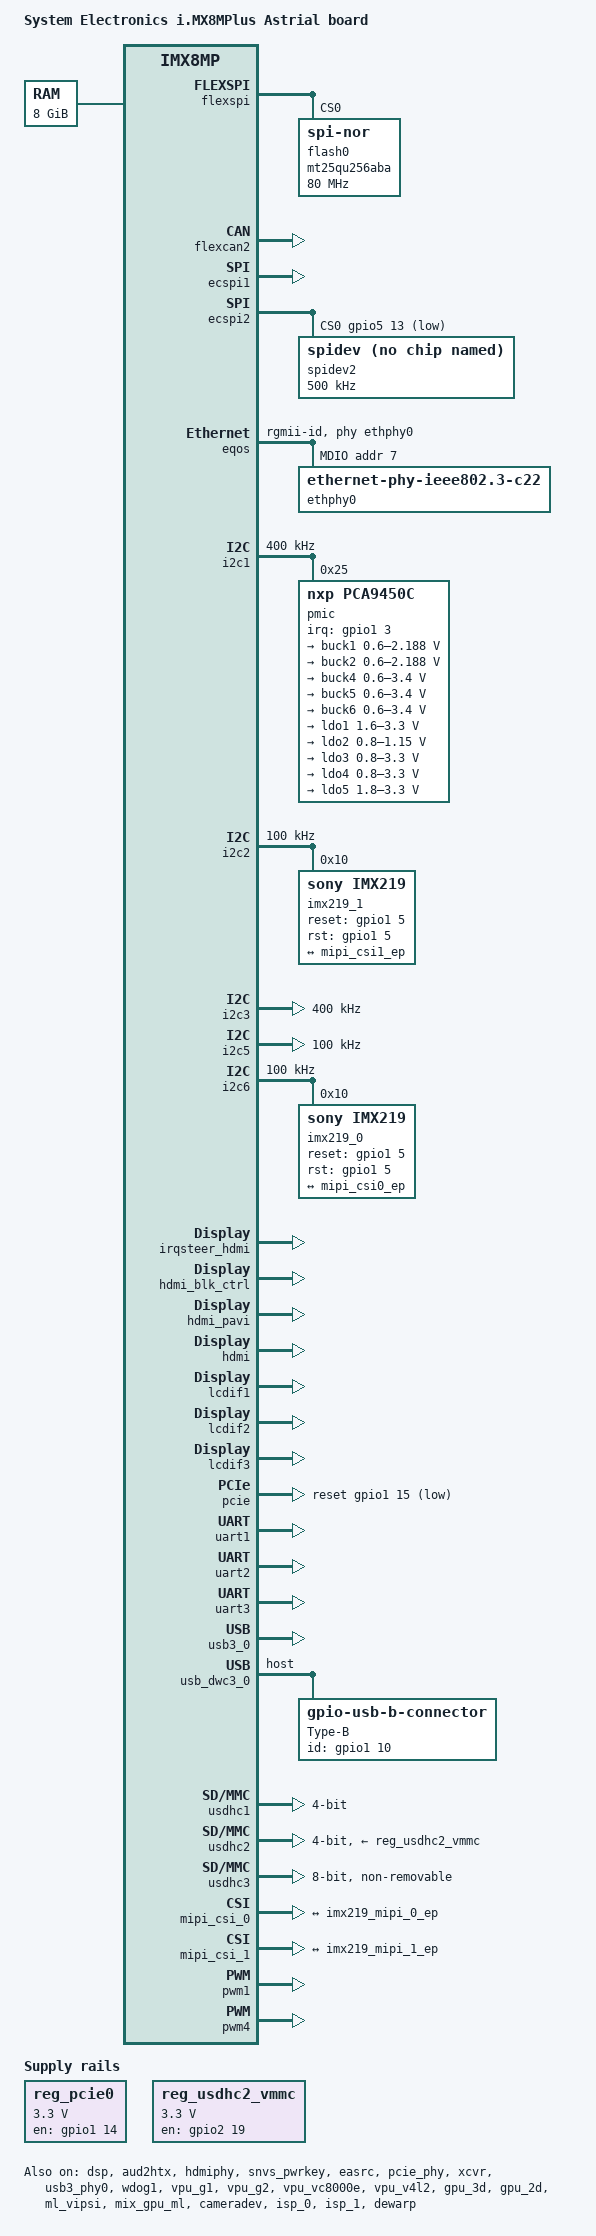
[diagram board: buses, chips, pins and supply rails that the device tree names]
// SPDX-License-Identifier: (GPL-2.0+ OR MIT)
/*
 * Copyright 2019 NXP
 * Copyright 2024 Koan Software
 */

 /dts-v1/;

 #include <dt-bindings/usb/pd.h>
 #include "../freescale/imx8mp.dtsi"
 
 / {
     model = "System Electronics i.MX8MPlus Astrial board";
     compatible = "fsl,imx8mp-astrial", "fsl,imx8mp";
 
     chosen {
         stdout-path = &uart1;
     };
 
     memory@40000000 {
         device_type = "memory";
         //reg = <0x0 0x40000000 0 0xc0000000>,
         //      <0x1 0x00000000 0 0xc0000000>;
         reg = <0x0 0x40000000 1 0x00000000>,
               <0x1 0x40000000 1 0x00000000>;
     };
 
     reg_pcie0: regulator-pcie {
         compatible = "regulator-fixed";
         pinctrl-names = "default";
         pinctrl-0 = <&pinctrl_pcie0_reg>;
         regulator-name = "MPCIE_V";
         regulator-min-microvolt = <3300000>;
         regulator-max-microvolt = <3300000>;
         gpio = <&gpio1 14 GPIO_ACTIVE_HIGH>;
         enable-active-high;
         regulator-always-on;
     };
 
     reg_usdhc2_vmmc: regulator-usdhc2 {
         compatible = "regulator-fixed";
         pinctrl-names = "default";
         pinctrl-0 = <&pinctrl_reg_usdhc2_vmmc>;
         regulator-name = "VSD_3V3";
         regulator-min-microvolt = <3300000>;
         regulator-max-microvolt = <3300000>;
         gpio = <&gpio2 19 GPIO_ACTIVE_HIGH>;
         enable-active-high;
     };
 
     sound-hdmi {
         compatible = "fsl,imx-audio-hdmi";
         model = "audio-hdmi";
         audio-cpu = <&aud2htx>;
         hdmi-out;
         constraint-rate = <44100>,
                 <88200>,
                 <176400>,
                 <32000>,
                 <48000>,
                 <96000>,
                 <192000>;
         status = "okay";
     };
 };
 
 &flexspi {
     pinctrl-names = "default";
     pinctrl-0 = <&pinctrl_flexspi0>;
     status = "okay";
 
     flash0: mt25qu256aba@0 {
         reg = <0>;
         #address-cells = <1>;
         #size-cells = <1>;
         compatible = "jedec,spi-nor";
         spi-max-frequency = <80000000>;
         spi-tx-bus-width = <1>;
         spi-rx-bus-width = <4>;
     };
 };
 
 &flexcan2 {
     pinctrl-names = "default";
     pinctrl-0 = <&pinctrl_flexcan2>;
     status = "okay";
 };
 
 &A53_0 {
     cpu-supply = <&buck2>;
 };
 
 &A53_1 {
     cpu-supply = <&buck2>;
 };
 
 &A53_2 {
     cpu-supply = <&buck2>;
 };
 
 &A53_3 {
     cpu-supply = <&buck2>;
 };
 
 &dsp {
     status = "okay";
 };
 
 &aud2htx {
     status = "okay";
 };
 
 &ecspi1 {
     #address-cells = <1>;
     #size-cells = <0>;
     fsl,spi-num-chipselects = <1>;
     pinctrl-names = "default";
     pinctrl-0 = <&pinctrl_ecspi1 &pinctrl_ecspi1_cs>;
     cs-gpios = <&gpio5 9 GPIO_ACTIVE_LOW>;
     status = "okay";

 };
 
 &ecspi2 {
     #address-cells = <1>;
     #size-cells = <0>;
     fsl,spi-num-chipselects = <1>;
     pinctrl-names = "default";
     pinctrl-0 = <&pinctrl_ecspi2 &pinctrl_ecspi2_cs>;
     cs-gpios = <&gpio5 13 GPIO_ACTIVE_LOW>;
     status = "okay";
 
     spidev2: spi2@0 {
         reg = <0>;
         compatible = "rohm,dh2228fv";
         spi-max-frequency = <500000>;
     };
 };
 
 &eqos {
     pinctrl-names = "default";
     pinctrl-0 = <&pinctrl_eqos>;
     phy-mode = "rgmii-id";
     phy-handle = <&ethphy0>;
     snps,force_thresh_dma_mode;
     snps,mtl-tx-config = <&mtl_tx_setup>;
     snps,mtl-rx-config = <&mtl_rx_setup>;
     status = "okay";
 
     mdio {
         compatible = "snps,dwmac-mdio";
         #address-cells = <1>;
         #size-cells = <0>;
 
         ethphy0: ethernet-phy@7 {
             compatible = "ethernet-phy-ieee802.3-c22";
             reg = <7>;
         };
     };
 
     mtl_tx_setup: tx-queues-config {
         snps,tx-queues-to-use = <5>;
         snps,tx-sched-sp;
         queue0 {
             snps,dcb-algorithm;
             snps,priority = <0x1>;
         };
         queue1 {
             snps,dcb-algorithm;
             snps,priority = <0x2>;
         };
         queue2 {
             snps,dcb-algorithm;
             snps,priority = <0x4>;
         };
         queue3 {
             snps,dcb-algorithm;
             snps,priority = <0x8>;
         };
         queue4 {
             snps,dcb-algorithm;
             snps,priority = <0xf0>;
         };
     };
     mtl_rx_setup: rx-queues-config {
         snps,rx-queues-to-use = <5>;
         snps,rx-sched-sp;
         queue0 {
             snps,dcb-algorithm;
             snps,priority = <0x1>;
             snps,map-to-dma-channel = <0>;
         };
         queue1 {
             snps,dcb-algorithm;
             snps,priority = <0x2>;
             snps,map-to-dma-channel = <1>;
         };
         queue2 {
             snps,dcb-algorithm;
             snps,priority = <0x4>;
             snps,map-to-dma-channel = <2>;
         };
         queue3 {
             snps,dcb-algorithm;
             snps,priority = <0x8>;
             snps,map-to-dma-channel = <3>;
         };
         queue4 {
             snps,dcb-algorithm;
             snps,priority = <0xf0>;
             snps,map-to-dma-channel = <4>;
         };
     };
 };
 
 &i2c1 {
     clock-frequency = <400000>;
     pinctrl-names = "default";
     pinctrl-0 = <&pinctrl_i2c1>;
     status = "okay";
 
     pmic@25 {
         compatible = "nxp,pca9450c";
         reg = <0x25>;
         pinctrl-names = "default";
         pinctrl-0 = <&pinctrl_pmic>;
         interrupt-parent = <&gpio1>;
         interrupts = <3 IRQ_TYPE_LEVEL_LOW>;
         /* needed for i2c2 to work */
         nxp,i2c-lt-enable;
 
         regulators {
             buck1: BUCK1 {
                 regulator-name = "BUCK1";
                 regulator-min-microvolt = <600000>;
                 regulator-max-microvolt = <2187500>;
                 regulator-boot-on;
                 regulator-always-on;
                 regulator-ramp-delay = <3125>;
             };
 
             buck2: BUCK2 {
                 regulator-name = "BUCK2";
                 regulator-min-microvolt = <600000>;
                 regulator-max-microvolt = <2187500>;
                 regulator-boot-on;
                 regulator-always-on;
                 regulator-ramp-delay = <3125>;
                 nxp,dvs-run-voltage = <950000>;
                 nxp,dvs-standby-voltage = <850000>;
             };
 
             buck4: BUCK4{
                 regulator-name = "BUCK4";
                 regulator-min-microvolt = <600000>;
                 regulator-max-microvolt = <3400000>;
                 regulator-boot-on;
                 regulator-always-on;
             };
 
             buck5: BUCK5{
                 regulator-name = "BUCK5";
                 regulator-min-microvolt = <600000>;
                 regulator-max-microvolt = <3400000>;
                 regulator-boot-on;
                 regulator-always-on;
             };
 
             buck6: BUCK6 {
                 regulator-name = "BUCK6";
                 regulator-min-microvolt = <600000>;
                 regulator-max-microvolt = <3400000>;
                 regulator-boot-on;
                 regulator-always-on;
             };
 
             ldo1: LDO1 {
                 regulator-name = "LDO1";
                 regulator-min-microvolt = <1600000>;
                 regulator-max-microvolt = <3300000>;
                 regulator-boot-on;
                 regulator-always-on;
             };
 
             ldo2: LDO2 {
                 regulator-name = "LDO2";
                 regulator-min-microvolt = <800000>;
                 regulator-max-microvolt = <1150000>;
                 regulator-boot-on;
                 regulator-always-on;
             };
 
             ldo3: LDO3 {
                 regulator-name = "LDO3";
                 regulator-min-microvolt = <800000>;
                 regulator-max-microvolt = <3300000>;
                 regulator-boot-on;
                 regulator-always-on;
             };
 
             ldo4: LDO4 {
                 regulator-name = "LDO4";
                 regulator-min-microvolt = <800000>;
                 regulator-max-microvolt = <3300000>;
                 regulator-boot-on;
                 regulator-always-on;
             };
 
             ldo5: LDO5 {
                 regulator-name = "LDO5";
                 regulator-min-microvolt = <1800000>;
                 regulator-max-microvolt = <3300000>;
                 regulator-boot-on;
                 regulator-always-on;
             };
         };
     };
 };
 
 &i2c2 {
     clock-frequency = <100000>;
     pinctrl-names = "default";
     pinctrl-0 = <&pinctrl_i2c2>;
     status = "okay";
 
     imx219_1: imx219_mipi@10 {
         compatible = "sony,imx219";
         reg = <0x10>;
         pinctrl-0 = <&pinctrl_csi0_rst>, <&pinctrl_csi_mclk>;
         clocks = <&clk IMX8MP_CLK_IPP_DO_CLKO2>;
         clock-names = "xclk";
         assigned-clocks = <&clk IMX8MP_CLK_IPP_DO_CLKO2>;
         assigned-clock-parents = <&clk IMX8MP_CLK_24M>;
         assigned-clock-rates = <24000000>;
         csi_id = <1>;
         /* Camera_GPIO points to GPIO1_5... for both cameras? */
         /* reset-gpios => for standard imx219 driver */
         /* rst-gpios => for nxp imx219 driver */
         reset-gpios = <&gpio1 5 GPIO_ACTIVE_HIGH>;
         rst-gpios = <&gpio1 5 GPIO_ACTIVE_HIGH>;
         mclk = <24000000>;
         mclk_source = <0>;
         mipi_csi;
 
         status = "okay";
 
         port {
             imx219_mipi_1_ep: endpoint {
                 remote-endpoint = <&mipi_csi1_ep>;
                 /* we could do 4 but Raspberry Cam v2 only handles 2 */
                 data-lanes = <1 2>;
                 clock-lanes = <0>;
                 clock-noncontinuous;
                 link-frequencies = /bits/ 64 <456000000>;
             };
         };
     };
 };
 
 &i2c3 {
     clock-frequency = <400000>;
     pinctrl-names = "default";
     pinctrl-0 = <&pinctrl_i2c3>;
     status = "okay";
 };
 
 &i2c5 {
     clock-frequency = <100000>;
     pinctrl-names = "default";
     pinctrl-0 = <&pinctrl_i2c5>;
     status = "okay";
 };
 
 &i2c6 {
     clock-frequency = <100000>;
     pinctrl-names = "default";
     pinctrl-0 = <&pinctrl_i2c6>;
     status = "okay";
 
     imx219_0: imx219_mipi@10 {
         compatible = "sony,imx219";
         reg = <0x10>;
         pinctrl-0 = <&pinctrl_csi0_rst>, <&pinctrl_csi_mclk>;
         clocks = <&clk IMX8MP_CLK_IPP_DO_CLKO2>;
         clock-names = "xclk";
         assigned-clocks = <&clk IMX8MP_CLK_IPP_DO_CLKO2>;
         assigned-clock-parents = <&clk IMX8MP_CLK_24M>;
         assigned-clock-rates = <24000000>;
         csi_id = <0>;
         /* Camera_GPIO points to GPIO1_5... for both cameras? */
         /* reset-gpios => for standard imx219 driver */
         /* rst-gpios => for nxp imx219 driver */
         reset-gpios = <&gpio1 5 GPIO_ACTIVE_HIGH>;
         rst-gpios = <&gpio1 5 GPIO_ACTIVE_HIGH>;
         mclk = <24000000>;
         mclk_source = <0>;
         mipi_csi;
 
         status = "okay";
 
         port {
             imx219_mipi_0_ep: endpoint {
                 remote-endpoint = <&mipi_csi0_ep>;
                 data-lanes = <1 2>;
                 clock-lanes = <0>;
                 clock-noncontinuous;
                 link-frequencies = /bits/ 64 <456000000>;
             };
         };
     };
 };
 
 &irqsteer_hdmi {
     status = "okay";
 };
 
 &hdmi_blk_ctrl {
     status = "okay";
 };
 
 &hdmi_pavi {
     status = "okay";
 };
 
 &hdmi {
     status = "okay";
 };
 
 &hdmiphy {
     status = "okay";
 };
 
 &lcdif1 {
     status = "okay";
 };
 
 &lcdif2 {
     status = "okay";
 };
 
 &lcdif3 {
     status = "okay";
 
     thres-low  = <1 2>;             /* (FIFO * 1 / 2) */
     thres-high = <3 4>;             /* (FIFO * 3 / 4) */
 };
 
 &snvs_pwrkey {
     status = "okay";
 };
 
 &easrc {
     fsl,asrc-rate  = <48000>;
     status = "okay";
 };
 
 &pcie{
     pinctrl-names = "default";
     pinctrl-0 = <&pinctrl_pcie>;
     reset-gpio = <&gpio1 15 GPIO_ACTIVE_LOW>;
     ext_osc = <0>;
     clocks = <&clk IMX8MP_CLK_HSIO_ROOT>,
          <&clk IMX8MP_CLK_PCIE_AUX>,
          <&clk IMX8MP_CLK_HSIO_AXI>,
          <&clk IMX8MP_CLK_PCIE_ROOT>;
     clock-names = "pcie", "pcie_aux", "pcie_phy", "pcie_bus";
     assigned-clocks = <&clk IMX8MP_CLK_HSIO_AXI>,
               <&clk IMX8MP_CLK_PCIE_AUX>;
     assigned-clock-rates = <500000000>, <10000000>;
     assigned-clock-parents = <&clk IMX8MP_SYS_PLL2_500M>,
                  <&clk IMX8MP_SYS_PLL2_50M>;
     l1ss-disabled;
     vpcie-supply = <&reg_pcie0>;
     status = "okay";
 };
 
 &pcie_ep{
     pinctrl-names = "default";
     pinctrl-0 = <&pinctrl_pcie>;
     ext_osc = <1>;
     clocks = <&clk IMX8MP_CLK_HSIO_ROOT>,
          <&clk IMX8MP_CLK_PCIE_AUX>,
          <&clk IMX8MP_CLK_HSIO_AXI>,
          <&clk IMX8MP_CLK_PCIE_ROOT>;
     clock-names = "pcie", "pcie_aux", "pcie_phy", "pcie_bus";
     assigned-clocks = <&clk IMX8MP_CLK_HSIO_AXI>,
               <&clk IMX8MP_CLK_PCIE_AUX>;
     assigned-clock-rates = <500000000>, <10000000>;
     assigned-clock-parents = <&clk IMX8MP_SYS_PLL2_500M>,
                  <&clk IMX8MP_SYS_PLL2_50M>;
     status = "disabled";
 };
 
 &pcie_phy{
     ext_osc = <0>;
     status = "okay";
 };
 
 &xcvr {
     #sound-dai-cells = <0>;
     status = "okay";
 };
 
 &sdma2 {
     status = "okay";
 };
 
 &uart1 {
     /* console */
     pinctrl-names = "default";
     pinctrl-0 = <&pinctrl_uart1>;
     assigned-clocks = <&clk IMX8MP_CLK_UART1>;
     assigned-clock-parents = <&clk IMX8MP_SYS_PLL1_80M>;
     /delete-property/ dmas;
     /delete-property/ dmas-names;
     status = "okay";
 };
 
 &uart2 {
     pinctrl-names = "default";
     pinctrl-0 = <&pinctrl_uart2>;
     status = "okay";
 };
 
 &uart3 {
     pinctrl-names = "default";
     pinctrl-0 = <&pinctrl_uart3>;
     status = "okay";
 };
 
 &usb3_phy0 {
     fsl,phy-tx-vref-tune = <0xe>;
     fsl,phy-tx-preemp-amp-tune = <3>;
     fsl,phy-tx-vboost-level = <5>;
     fsl,phy-comp-dis-tune = <7>;
     fsl,pcs-tx-deemph-3p5db = <0x21>;
     fsl,phy-pcs-tx-swing-full = <0x7f>;
     status = "okay";
 };
 
 &usb3_0 {
     status = "okay";
 };
 
 &usb_dwc3_0 {
     //dr_mode = "otg";
     dr_mode = "host";
     hnp-disable;
     srp-disable;
     adp-disable;
     usb-role-switch;
     role-switch-default-mode = "none";
     snps,dis-u1-entry-quirk;
     snps,dis-u2-entry-quirk;
     status = "okay";
 
     connector {
         pinctrl-names = "default";
         pinctrl-0 = <&pinctrl_usb0>;
         compatible = "gpio-usb-b-connector", "usb-b-connector";
         type = "micro";
         label = "Type-B";
         id-gpios = <&gpio1 10 GPIO_ACTIVE_HIGH>;
     };
 };
 
 &usb3_phy1 {
     fsl,phy-tx-preemp-amp-tune = <3>;
     fsl,phy-tx-vref-tune = <0xb>;
     status = "disabled";
 };
 
 &usb3_1 {
     status = "disabled";
 };
 
 &usb_dwc3_1 {
     dr_mode = "host";
     status = "disabled";
 };
 
 &usdhc1 {
     assigned-clocks = <&clk IMX8MP_CLK_USDHC1>;
     assigned-clock-rates = <25000000>;
     pinctrl-names = "default";
     pinctrl-0 = <&pinctrl_usdhc1>;
     bus-width = <4>;
     broken-cd;
     no-1-8-v;
     status = "okay";
 };
 
 &usdhc2 {
     assigned-clocks = <&clk IMX8MP_CLK_USDHC2>;
     assigned-clock-rates = <400000000>;
     pinctrl-names = "default", "state_100mhz", "state_200mhz";
     pinctrl-0 = <&pinctrl_usdhc2>;
     pinctrl-1 = <&pinctrl_usdhc2_100mhz>;
     pinctrl-2 = <&pinctrl_usdhc2_200mhz>;
     vmmc-supply = <&reg_usdhc2_vmmc>;
     bus-width = <4>;
     broken-cd;
     no-1-8-v;
     status = "okay";
 };
 
 &usdhc3 {
     assigned-clocks = <&clk IMX8MP_CLK_USDHC3>;
     assigned-clock-rates = <400000000>;
     pinctrl-names = "default", "state_100mhz", "state_200mhz";
     pinctrl-0 = <&pinctrl_usdhc3>;
     pinctrl-1 = <&pinctrl_usdhc3_100mhz>;
     pinctrl-2 = <&pinctrl_usdhc3_200mhz>;
     bus-width = <8>;
     non-removable;
     status = "okay";
 };
 
 &wdog1 {
     pinctrl-names = "default";
     pinctrl-0 = <&pinctrl_wdog>;
     fsl,ext-reset-output;
     status = "okay";
 };
 
 &iomuxc {
     pinctrl-names = "default";
     pinctrl-0 = <&pinctrl_hog>;
 
     pinctrl_hog: hoggrp {
         fsl,pins = <
             MX8MP_IOMUXC_HDMI_DDC_SCL__HDMIMIX_HDMI_SCL	0x400001c2
             MX8MP_IOMUXC_HDMI_DDC_SDA__HDMIMIX_HDMI_SDA	0x400001c2
             MX8MP_IOMUXC_HDMI_HPD__HDMIMIX_HDMI_HPD		0x40000010
             MX8MP_IOMUXC_HDMI_CEC__HDMIMIX_HDMI_CEC		0x40000010
         >;
     };
     
     pinctrl_ecspi1: ecspi1grp {
         fsl,pins = <
             MX8MP_IOMUXC_ECSPI1_SCLK__ECSPI1_SCLK    0x82
             MX8MP_IOMUXC_ECSPI1_MOSI__ECSPI1_MOSI    0x82
             MX8MP_IOMUXC_ECSPI1_MISO__ECSPI1_MISO    0x82
         >;
     };
 
     pinctrl_ecspi1_cs: ecspi1cs {
         fsl,pins = <
             MX8MP_IOMUXC_ECSPI1_SS0__GPIO5_IO09      0x40000
         >;
     };
 
     pinctrl_ecspi2: ecspi2grp {
         fsl,pins = <
             MX8MP_IOMUXC_ECSPI2_SCLK__ECSPI2_SCLK    0x82
             MX8MP_IOMUXC_ECSPI2_MOSI__ECSPI2_MOSI    0x82
             MX8MP_IOMUXC_ECSPI2_MISO__ECSPI2_MISO    0x82
         >;
     };
 
     pinctrl_ecspi2_cs: ecspi2cs {
         fsl,pins = <
             MX8MP_IOMUXC_ECSPI2_SS0__GPIO5_IO13      0x40000
         >;
     };
     
     pinctrl_eqos: eqosgrp {
         fsl,pins = <
             MX8MP_IOMUXC_ENET_MDC__ENET_QOS_MDC				0x142
             MX8MP_IOMUXC_ENET_MDIO__ENET_QOS_MDIO				0x142
             MX8MP_IOMUXC_ENET_RD0__ENET_QOS_RGMII_RD0			0x90
             MX8MP_IOMUXC_ENET_RD1__ENET_QOS_RGMII_RD1			0x90
             MX8MP_IOMUXC_ENET_RD2__ENET_QOS_RGMII_RD2			0x90
             MX8MP_IOMUXC_ENET_RD3__ENET_QOS_RGMII_RD3			0x90
             MX8MP_IOMUXC_ENET_RXC__CCM_ENET_QOS_CLOCK_GENERATE_RX_CLK	0x90
             MX8MP_IOMUXC_ENET_RX_CTL__ENET_QOS_RGMII_RX_CTL			0x90
             MX8MP_IOMUXC_ENET_TD0__ENET_QOS_RGMII_TD0			0x16
             MX8MP_IOMUXC_ENET_TD1__ENET_QOS_RGMII_TD1			0x16
             MX8MP_IOMUXC_ENET_TD2__ENET_QOS_RGMII_TD2			0x16
             MX8MP_IOMUXC_ENET_TD3__ENET_QOS_RGMII_TD3			0x16
             MX8MP_IOMUXC_ENET_TX_CTL__ENET_QOS_RGMII_TX_CTL			0x16
             MX8MP_IOMUXC_ENET_TXC__CCM_ENET_QOS_CLOCK_GENERATE_TX_CLK	0x16
         >;
     };
 
     pinctrl_flexcan2: flexcan2grp {
         fsl,pins = <
             MX8MP_IOMUXC_SAI2_MCLK__CAN2_RX         0x154
             MX8MP_IOMUXC_SAI2_TXD0__CAN2_TX         0x154
         >;
     };
 
     pinctrl_flexspi0: flexspi0grp {
         fsl,pins = <
             MX8MP_IOMUXC_NAND_ALE__FLEXSPI_A_SCLK           0x1c2
             MX8MP_IOMUXC_NAND_CE0_B__FLEXSPI_A_SS0_B        0x82
             MX8MP_IOMUXC_NAND_DATA00__FLEXSPI_A_DATA00      0x82
             MX8MP_IOMUXC_NAND_DATA01__FLEXSPI_A_DATA01      0x82
             MX8MP_IOMUXC_NAND_DATA02__FLEXSPI_A_DATA02      0x82
             MX8MP_IOMUXC_NAND_DATA03__FLEXSPI_A_DATA03      0x82
         >;
     };
 
     pinctrl_i2c1: i2c1grp {
         fsl,pins = <
             MX8MP_IOMUXC_I2C1_SCL__I2C1_SCL		0x400001c2
             MX8MP_IOMUXC_I2C1_SDA__I2C1_SDA		0x400001c2
         >;
     };
 
     pinctrl_i2c2: i2c2grp {
         fsl,pins = <
             MX8MP_IOMUXC_I2C2_SCL__I2C2_SCL		0x400001c2
             MX8MP_IOMUXC_I2C2_SDA__I2C2_SDA		0x400001c2
         >;
     };
 
     pinctrl_i2c3: i2c3grp {
         fsl,pins = <
             MX8MP_IOMUXC_I2C3_SCL__I2C3_SCL		0x400001c2
             MX8MP_IOMUXC_I2C3_SDA__I2C3_SDA		0x400001c2
         >;
     };
 
     pinctrl_i2c5: i2c5grp {
         fsl,pins = <
             MX8MP_IOMUXC_SAI5_RXD0__I2C5_SCL	0x400001c2
             MX8MP_IOMUXC_SAI5_MCLK__I2C5_SDA	0x400001c2
         >;
     };
 
     pinctrl_i2c6: i2c6grp {
         fsl,pins = <
             MX8MP_IOMUXC_SAI5_RXFS__I2C6_SCL	0x400001c2
             MX8MP_IOMUXC_SAI5_RXC__I2C6_SDA	0x400001c2
         >;
     };
 
     pinctrl_pcie: pciegrp {
         fsl,pins = <
             MX8MP_IOMUXC_I2C4_SCL__PCIE_CLKREQ_B	0x60   /* open drain, pull up */ /* PCIE_CLKREQ_N */
             MX8MP_IOMUXC_GPIO1_IO15__GPIO1_IO15	0x41   /* PCIE_RST_N */
             MX8MP_IOMUXC_I2C4_SDA__GPIO5_IO21	0x1c4  /* PCIE_WAKE_N */
         >;
     };
     
     pinctrl_pcie0_reg: pcie0reggrp {
         fsl,pins = <
             MX8MP_IOMUXC_GPIO1_IO14__GPIO1_IO14	0x40 
         >;
     };
 
     pinctrl_pmic: pmicgrp {
         fsl,pins = <
             MX8MP_IOMUXC_GPIO1_IO03__GPIO1_IO03	0x000001c0
         >;
     };
 
     pinctrl_reg_usdhc2_vmmc: regusdhc2vmmcgrp {
         fsl,pins = <
             MX8MP_IOMUXC_SD2_RESET_B__GPIO2_IO19	0x40
         >;
     };
 
     pinctrl_uart1: uart1grp {
         fsl,pins = <
             MX8MP_IOMUXC_SAI2_RXC__UART1_DCE_RX	0x140
             MX8MP_IOMUXC_SAI2_RXFS__UART1_DCE_TX	0x140
             MX8MP_IOMUXC_SAI2_TXFS__UART1_DCE_CTS	0x140
             MX8MP_IOMUXC_SAI2_RXD0__UART1_DCE_RTS	0x140
         >;
     };
 
     pinctrl_uart2: uart2grp {
         fsl,pins = <
             MX8MP_IOMUXC_UART2_RXD__UART2_DCE_RX	0x140
             MX8MP_IOMUXC_UART2_TXD__UART2_DCE_TX	0x140
         >;
     };
 
     pinctrl_uart3: uart3grp {
         fsl,pins = <
             MX8MP_IOMUXC_SD1_DATA7__UART3_DCE_RX	0x140
             MX8MP_IOMUXC_SD1_DATA6__UART3_DCE_TX	0x140
         >;
     };
 
     pinctrl_pwm1: pwm1grp {
         fsl,pins = <
             MX8MP_IOMUXC_SPDIF_EXT_CLK__PWM1_OUT	0x116
         >;
     };
 
     pinctrl_pwm4: pwm4grp {
         fsl,pins = <
             MX8MP_IOMUXC_SAI3_MCLK__PWM4_OUT		0x116
         >;
     };
 
     pinctrl_usb0: usb0-extcongrp {
         fsl,pins = <
             MX8MP_IOMUXC_GPIO1_IO10__GPIO1_IO10	0x19
         >;
     };
 
     pinctrl_usdhc1: usdhc1grp {
         fsl,pins = <
             MX8MP_IOMUXC_SD1_CLK__USDHC1_CLK	0x190
             MX8MP_IOMUXC_SD1_CMD__USDHC1_CMD	0x1d0
             MX8MP_IOMUXC_SD1_DATA0__USDHC1_DATA0	0x1d0
             MX8MP_IOMUXC_SD1_DATA1__USDHC1_DATA1	0x1d0
             MX8MP_IOMUXC_SD1_DATA2__USDHC1_DATA2	0x1d0
             MX8MP_IOMUXC_SD1_DATA3__USDHC1_DATA3	0x1d0
         >;
     };
 
     pinctrl_usdhc2: usdhc2grp {
         fsl,pins = <
             MX8MP_IOMUXC_SD2_CLK__USDHC2_CLK	0x190
             MX8MP_IOMUXC_SD2_CMD__USDHC2_CMD	0x1d0
             MX8MP_IOMUXC_SD2_DATA0__USDHC2_DATA0	0x1d0
             MX8MP_IOMUXC_SD2_DATA1__USDHC2_DATA1	0x1d0
             MX8MP_IOMUXC_SD2_DATA2__USDHC2_DATA2	0x1d0
             MX8MP_IOMUXC_SD2_DATA3__USDHC2_DATA3	0x1d0
             MX8MP_IOMUXC_GPIO1_IO04__USDHC2_VSELECT	0xc0
         >;
     };
 
     pinctrl_usdhc2_100mhz: usdhc2-100mhzgrp {
         fsl,pins = <
             MX8MP_IOMUXC_SD2_CLK__USDHC2_CLK	0x194
             MX8MP_IOMUXC_SD2_CMD__USDHC2_CMD	0x1d4
             MX8MP_IOMUXC_SD2_DATA0__USDHC2_DATA0	0x1d4
             MX8MP_IOMUXC_SD2_DATA1__USDHC2_DATA1	0x1d4
             MX8MP_IOMUXC_SD2_DATA2__USDHC2_DATA2	0x1d4
             MX8MP_IOMUXC_SD2_DATA3__USDHC2_DATA3	0x1d4
             MX8MP_IOMUXC_GPIO1_IO04__USDHC2_VSELECT 0xc0
         >;
     };
 
     pinctrl_usdhc2_200mhz: usdhc2-200mhzgrp {
         fsl,pins = <
             MX8MP_IOMUXC_SD2_CLK__USDHC2_CLK	0x196
             MX8MP_IOMUXC_SD2_CMD__USDHC2_CMD	0x1d6
             MX8MP_IOMUXC_SD2_DATA0__USDHC2_DATA0	0x1d6
             MX8MP_IOMUXC_SD2_DATA1__USDHC2_DATA1	0x1d6
             MX8MP_IOMUXC_SD2_DATA2__USDHC2_DATA2	0x1d6
             MX8MP_IOMUXC_SD2_DATA3__USDHC2_DATA3	0x1d6
             MX8MP_IOMUXC_GPIO1_IO04__USDHC2_VSELECT 0xc0
         >;
     };
 
     pinctrl_usdhc3: usdhc3grp {
         fsl,pins = <
             MX8MP_IOMUXC_NAND_WE_B__USDHC3_CLK	0x190
             MX8MP_IOMUXC_NAND_WP_B__USDHC3_CMD	0x1d0
             MX8MP_IOMUXC_NAND_DATA04__USDHC3_DATA0	0x1d0
             MX8MP_IOMUXC_NAND_DATA05__USDHC3_DATA1	0x1d0
             MX8MP_IOMUXC_NAND_DATA06__USDHC3_DATA2	0x1d0
             MX8MP_IOMUXC_NAND_DATA07__USDHC3_DATA3	0x1d0
             MX8MP_IOMUXC_NAND_RE_B__USDHC3_DATA4	0x1d0
             MX8MP_IOMUXC_NAND_CE2_B__USDHC3_DATA5	0x1d0
             MX8MP_IOMUXC_NAND_CE3_B__USDHC3_DATA6	0x1d0
             MX8MP_IOMUXC_NAND_CLE__USDHC3_DATA7	0x1d0
             MX8MP_IOMUXC_NAND_CE1_B__USDHC3_STROBE	0x190
         >;
     };
 
     pinctrl_usdhc3_100mhz: usdhc3-100mhzgrp {
         fsl,pins = <
             MX8MP_IOMUXC_NAND_WE_B__USDHC3_CLK	0x194
             MX8MP_IOMUXC_NAND_WP_B__USDHC3_CMD	0x1d4
             MX8MP_IOMUXC_NAND_DATA04__USDHC3_DATA0	0x1d4
             MX8MP_IOMUXC_NAND_DATA05__USDHC3_DATA1	0x1d4
             MX8MP_IOMUXC_NAND_DATA06__USDHC3_DATA2	0x1d4
             MX8MP_IOMUXC_NAND_DATA07__USDHC3_DATA3	0x1d4
             MX8MP_IOMUXC_NAND_RE_B__USDHC3_DATA4	0x1d4
             MX8MP_IOMUXC_NAND_CE2_B__USDHC3_DATA5	0x1d4
             MX8MP_IOMUXC_NAND_CE3_B__USDHC3_DATA6	0x1d4
             MX8MP_IOMUXC_NAND_CLE__USDHC3_DATA7	0x1d4
             MX8MP_IOMUXC_NAND_CE1_B__USDHC3_STROBE	0x194
         >;
     };
 
     pinctrl_usdhc3_200mhz: usdhc3-200mhzgrp {
         fsl,pins = <
             MX8MP_IOMUXC_NAND_WE_B__USDHC3_CLK	0x196
             MX8MP_IOMUXC_NAND_WP_B__USDHC3_CMD	0x1d6
             MX8MP_IOMUXC_NAND_DATA04__USDHC3_DATA0	0x1d6
             MX8MP_IOMUXC_NAND_DATA05__USDHC3_DATA1	0x1d6
             MX8MP_IOMUXC_NAND_DATA06__USDHC3_DATA2	0x1d6
             MX8MP_IOMUXC_NAND_DATA07__USDHC3_DATA3	0x1d6
             MX8MP_IOMUXC_NAND_RE_B__USDHC3_DATA4	0x1d6
             MX8MP_IOMUXC_NAND_CE2_B__USDHC3_DATA5	0x1d6
             MX8MP_IOMUXC_NAND_CE3_B__USDHC3_DATA6	0x1d6
             MX8MP_IOMUXC_NAND_CLE__USDHC3_DATA7	0x1d6
             MX8MP_IOMUXC_NAND_CE1_B__USDHC3_STROBE	0x196
         >;
     };
 
     pinctrl_wdog: wdoggrp {
         fsl,pins = <
             MX8MP_IOMUXC_GPIO1_IO02__WDOG1_WDOG_B	0x166
         >;
     };
 
     pinctrl_csi0_rst: csi0_rst_grp {
         fsl,pins = <
             MX8MP_IOMUXC_GPIO1_IO05__GPIO1_IO05		0x10
         >;
     };
 
     pinctrl_csi_mclk: csi_mclk_grp {
         fsl,pins = <
             MX8MP_IOMUXC_GPIO1_IO15__CCM_CLKO2	0x50
         >;
     };
 };
 
 &vpu_g1 {
     status = "okay";
 };
 
 &vpu_g2 {
     status = "okay";
 };
 
 &vpu_vc8000e {
     status = "okay";
 };
 
 &vpu_v4l2 {
     status = "okay";
 };
 
 &gpu_3d {
     status = "okay";
 };
 
 &gpu_2d {
     status = "okay";
 };
 
 &ml_vipsi {
     status = "okay";
 };
 
 &mix_gpu_ml {
     status = "okay";
 };
 
 &mipi_csi_0 {
     #address-cells = <1>;
     #size-cells = <0>;
     status = "okay";
 
     port@0 {
         reg = <0>;
         mipi_csi0_ep: endpoint {
             remote-endpoint = <&imx219_mipi_0_ep>;
             data-lanes = <2>;
             csis-hs-settle = <16>;
             csis-clk-settle = <2>;
             csis-wclk;
         };
     };
 };
 
 &mipi_csi_1 {
     #address-cells = <1>;
     #size-cells = <0>;
     status = "okay";
 
     port@1 {
         reg = <1>;
         mipi_csi1_ep: endpoint {
             remote-endpoint = <&imx219_mipi_1_ep>;
             data-lanes = <2>;
             csis-hs-settle = <16>;
             csis-clk-settle = <2>;
             csis-wclk;
         };
     };
 };
 
 &cameradev {
     status = "okay";
 };
 
 &isi_0 {
     status = "disabled";
 
     cap_device {
         status = "disabled";
     };
 
     m2m_device {
         status = "disabled";
     };
 };
 
 &isi_1 {
     status = "disabled";
 
     cap_device {
         status = "disabled";
     };
 
     m2m_device {
         status = "disabled";
     };
 };
 
 &isp_0 {
     status = "okay";
 };
 
 &isp_1 {
     status = "okay";
 };
 
 &dewarp {
     status = "okay";
 };
 
 &pwm1 {
     pinctrl-names = "default";
     pinctrl-0 = <&pinctrl_pwm1>;
     status = "okay";
 };
 
 &pwm4 {
     pinctrl-names = "default";
     pinctrl-0 = <&pinctrl_pwm4>;
     status = "okay";
 };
